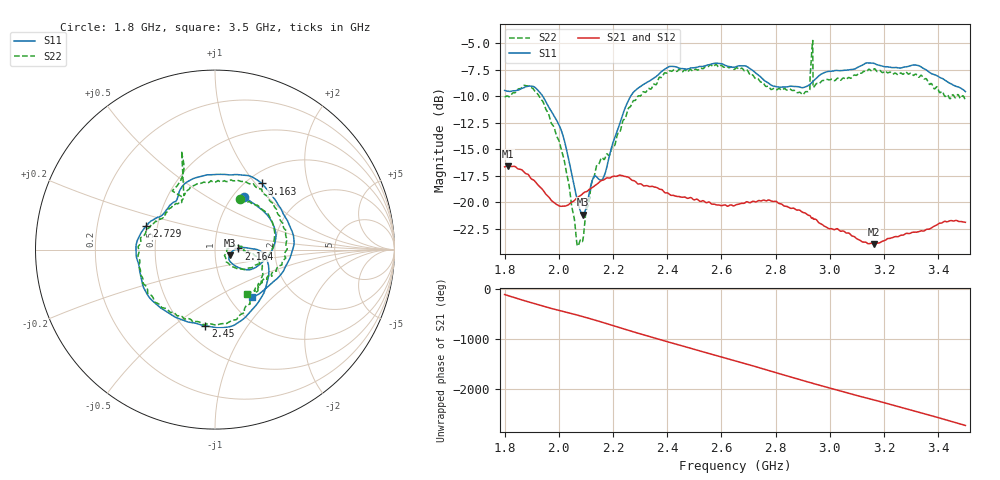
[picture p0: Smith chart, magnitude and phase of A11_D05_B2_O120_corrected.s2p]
! Created with skrf 1.9.0 (http://scikit-rf.org).
# Hz S RI R 50.0
!freq ReS11 ImS11 ReS21 ImS21 ReS12 ImS12 ReS22 ImS22
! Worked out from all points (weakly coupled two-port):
!   1601 points, 1.8 GHz to 3.5 GHz, reference 50 ohm
!   highest |S21| = -16.59 dB at 1.812 GHz (marker M1); lowest = -24.0 dB at 3.161 GHz (marker M2)
!   lowest |S11| = -21.2 dB at 2.09 GHz (marker M3), VSWR 1.19, Z = 58.8 - j3.69 ohm
!   |S11| at or under -10 dB: 1.941 GHz to 2.265 GHz (324.3 MHz wide, 15.4 % of centre)
!   |S22| runs from -24.2 to -4.7 dB; largest |S21 - S12| = 0.0027
!   S11 on the Smith chart (normalised r, x): 1.8 GHz: 1.13, +0.75; 2.164 GHz: 1.30, +0.02; 2.45 GHz: 0.63, -0.66; 2.729 GHz: 0.43, +0.14; 3.163 GHz: 1.17, +1.08; 3.5 GHz: 1.26, -0.75
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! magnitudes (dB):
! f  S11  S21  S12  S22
! 1.8 GHz  -9.5  -16.7  -16.7  -10.1
! 1.812 GHz  -9.5  -16.6  -16.6  -10.0
! 1.881 GHz  -9.1  -17.3  -17.3  -9.0
! 1.942 GHz  -10.1  -18.9  -18.9  -10.6
! 2.011 GHz  -13.4  -20.4  -20.4  -15.3
! 2.067 GHz  -19.6  -19.6  -19.6  -23.9
! 2.084 GHz  -21.1  -19.3  -19.3  -23.7
! 2.09 GHz  -21.2  -19.2  -19.2  -23.4
! 2.127 GHz  -17.7  -18.6  -18.6  -17.8
! 2.164 GHz  -17.7  -17.9  -17.9  -15.9
! 2.261 GHz  -10.2  -17.7  -17.8  -11.0
! 2.367 GHz  -8.0  -18.7  -18.7  -8.4
! 2.45 GHz  -7.4  -19.5  -19.5  -7.6
! 2.65 GHz  -7.2  -20.3  -20.3  -7.4
! 2.729 GHz  -7.9  -20.0  -20.0  -8.3
! 2.901 GHz  -9.2  -21.0  -21.0  -9.9
! 2.934 GHz  -8.7  -21.5  -21.5  -5.6
! 2.946 GHz  -8.4  -21.6  -21.7  -8.9
! 3.161 GHz  -6.9  -24.0  -23.9  -7.5
! 3.163 GHz  -6.9  -24.0  -23.9  -7.4
! 3.217 GHz  -7.2  -23.4  -23.4  -7.8
! 3.5 GHz  -9.6  -21.9  -21.9  -10.4
